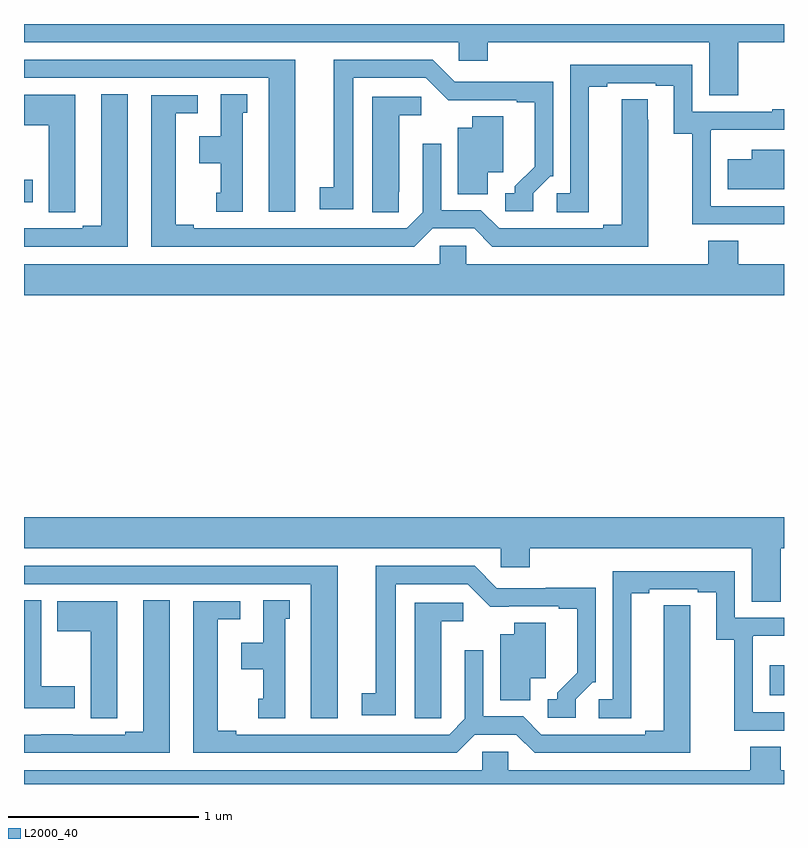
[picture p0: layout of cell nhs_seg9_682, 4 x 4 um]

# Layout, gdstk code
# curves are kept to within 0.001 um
import gdstk
lib = gdstk.Library(unit=1e-6, precision=1e-09)
def R(c, l, rs):  # rectangles x0, y0, x1, y1
    for r in rs: c.add(gdstk.rectangle(r[:2], r[2:], *l))
def P(c, l, *ps):  # polygons
    for p in ps: c.add(gdstk.Polygon(p, *l))
L2000_40 = (2000, 40)

nhs_seg9_682 = lib.new_cell('nhs_seg9_682')
R(nhs_seg9_682, L2000_40, [(148.926,1208.966,149,1209.124), (145,1211.562,145.045,1211.679)])
P(nhs_seg9_682, L2000_40, [(148.76,1212.404),(149,1212.404),(149,1212.5),(145,1212.5),(145,1212.404),(147.288,1212.404),(147.288,1212.306),(147.44,1212.306),(147.44,1212.404),(148.607,1212.404),(148.607,1212.124),(148.76,1212.124)],
  [(147.681,1211.61),(147.771,1211.7),(147.786,1211.7),(147.786,1212.197),(147.523,1212.197),(147.523,1212.195),(147.267,1212.195),(147.15,1212.312),(146.63,1212.312),(146.63,1211.642),(146.556,1211.642),(146.556,1211.526),(146.734,1211.526),(146.734,1212.216),(147.114,1212.216),(147.232,1212.098),(147.593,1212.099),(147.593,1212.087),(147.689,1212.087),(147.689,1211.75),(147.584,1211.645),(147.584,1211.61),(147.534,1211.61),(147.534,1211.514),(147.681,1211.514)],
  [(146.428,1212.312),(145,1212.312),(145,1212.216),(146.288,1212.216),(146.288,1211.511),(146.428,1211.511)],
  [(149,1211.541),(148.614,1211.541),(148.614,1211.942),(148.616,1211.942),(148.616,1211.943),(149,1211.943),(149,1212.052),(148.937,1212.052),(148.937,1212.039),(148.518,1212.039),(148.518,1212.285),(147.876,1212.285),(147.876,1211.61),(147.804,1211.61),(147.804,1211.509),(147.973,1211.509),(147.973,1212.169),(148.069,1212.169),(148.069,1212.189),(148.325,1212.189),(148.325,1212.174),(148.421,1212.174),(148.421,1211.923),(148.516,1211.923),(148.516,1211.445),(149,1211.445)],
  [(145.546,1212.131),(145.406,1212.131),(145.406,1211.439),(145.31,1211.439),(145.31,1211.424),(145.034,1211.424),(145.034,1211.425),(145,1211.425),(145,1211.328),(145.546,1211.328)],
  [(146.152,1212.033),(146.176,1212.033),(146.176,1212.131),(146.036,1212.131),(146.036,1211.908),(145.922,1211.908),(145.922,1211.768),(146.036,1211.768),(146.036,1211.613),(146.012,1211.613),(146.012,1211.511),(146.152,1211.511)],
  [(145.269,1211.617),(145.27,1211.617),(145.27,1212.127),(145,1212.127),(145,1211.968),(145.13,1211.968),(145.13,1211.509),(145.269,1211.509)],
  [(147.151,1211.424),(147.369,1211.424),(147.465,1211.328),(148.285,1211.328),(148.284,1212.104),(148.145,1212.104),(148.145,1211.444),(148.049,1211.444),(148.049,1211.424),(147.501,1211.424),(147.405,1211.52),(147.195,1211.52),(147.195,1211.869),(147.099,1211.869),(147.099,1211.508),(147.015,1211.424),(145.894,1211.424),(145.894,1211.444),(145.798,1211.444),(145.798,1212.03),(145.915,1212.03),(145.915,1212.126),(145.67,1212.126),(145.67,1211.328),(147.055,1211.328)],
  [(146.973,1211.617),(146.974,1211.617),(146.974,1212.02),(147.091,1212.02),(147.091,1212.117),(146.834,1212.117),(146.834,1211.509),(146.973,1211.509)],
  [(147.442,1211.72),(147.523,1211.72),(147.523,1212.014),(147.359,1212.014),(147.359,1211.953),(147.284,1211.953),(147.284,1211.605),(147.442,1211.605)],
  [(149,1211.839),(148.829,1211.839),(148.829,1211.788),(148.704,1211.788),(148.704,1211.63),(149,1211.63)],
  [(149,1211.236),(148.76,1211.236),(148.76,1211.36),(148.6,1211.36),(148.6,1211.236),(147.327,1211.236),(147.327,1211.334),(147.189,1211.334),(147.189,1211.236),(145,1211.236),(145,1211.072),(149,1211.072)],
  [(148.982,1209.74),(149,1209.74),(149,1209.904),(145,1209.904),(145,1209.74),(147.51,1209.74),(147.51,1209.642),(147.662,1209.642),(147.662,1209.74),(148.829,1209.74),(148.829,1209.46),(148.982,1209.46)],
  [(147.903,1208.946),(147.993,1209.036),(148.008,1209.036),(148.008,1209.533),(147.745,1209.533),(147.745,1209.531),(147.489,1209.531),(147.372,1209.648),(146.852,1209.648),(146.852,1208.978),(146.778,1208.978),(146.778,1208.862),(146.956,1208.862),(146.956,1209.552),(147.336,1209.552),(147.454,1209.434),(147.815,1209.435),(147.815,1209.423),(147.911,1209.423),(147.911,1209.086),(147.806,1208.981),(147.806,1208.946),(147.756,1208.946),(147.756,1208.85),(147.903,1208.85)],
  [(146.65,1209.648),(145,1209.648),(145,1209.552),(146.51,1209.552),(146.51,1208.847),(146.65,1208.847)],
  [(149,1208.877),(148.836,1208.877),(148.836,1209.278),(148.838,1209.278),(148.838,1209.279),(149,1209.279),(149,1209.375),(148.74,1209.375),(148.74,1209.621),(148.098,1209.621),(148.098,1208.946),(148.026,1208.946),(148.026,1208.845),(148.195,1208.845),(148.195,1209.505),(148.291,1209.505),(148.291,1209.525),(148.547,1209.525),(148.547,1209.51),(148.643,1209.51),(148.643,1209.259),(148.738,1209.259),(148.738,1208.781),(149,1208.781)],
  [(145.768,1209.467),(145.628,1209.467),(145.628,1208.775),(145.532,1208.775),(145.532,1208.76),(145.256,1208.76),(145.256,1208.761),(145.09,1208.761),(145.09,1208.76),(145,1208.76),(145,1208.664),(145.768,1208.664)],
  [(146.374,1209.369),(146.398,1209.369),(146.398,1209.467),(146.258,1209.467),(146.258,1209.244),(146.144,1209.244),(146.144,1209.104),(146.258,1209.104),(146.258,1208.949),(146.234,1208.949),(146.234,1208.847),(146.374,1208.847)],
  [(145.267,1209.015),(145.09,1209.015),(145.09,1209.467),(145,1209.467),(145,1208.898),(145.267,1208.898)],
  [(145.491,1208.953),(145.492,1208.953),(145.492,1209.463),(145.175,1209.463),(145.175,1209.304),(145.352,1209.304),(145.352,1208.845),(145.491,1208.845)],
  [(147.373,1208.76),(147.591,1208.76),(147.687,1208.664),(148.507,1208.664),(148.506,1209.44),(148.367,1209.44),(148.367,1208.78),(148.271,1208.78),(148.271,1208.76),(147.723,1208.76),(147.627,1208.856),(147.417,1208.856),(147.417,1209.205),(147.321,1209.205),(147.321,1208.844),(147.237,1208.76),(146.116,1208.76),(146.116,1208.78),(146.02,1208.78),(146.02,1209.366),(146.137,1209.366),(146.137,1209.462),(145.892,1209.462),(145.892,1208.664),(147.277,1208.664)],
  [(147.195,1208.953),(147.196,1208.953),(147.196,1209.356),(147.313,1209.356),(147.313,1209.453),(147.056,1209.453),(147.056,1208.845),(147.195,1208.845)],
  [(147.664,1209.056),(147.745,1209.056),(147.745,1209.35),(147.581,1209.35),(147.581,1209.289),(147.506,1209.289),(147.506,1208.941),(147.664,1208.941)],
  [(149,1208.572),(148.982,1208.572),(148.982,1208.696),(148.822,1208.696),(148.822,1208.572),(147.549,1208.572),(147.549,1208.67),(147.411,1208.67),(147.411,1208.572),(145,1208.572),(145,1208.5),(149,1208.5)])

lib.write_gds('nhs_seg9_682.gds')
